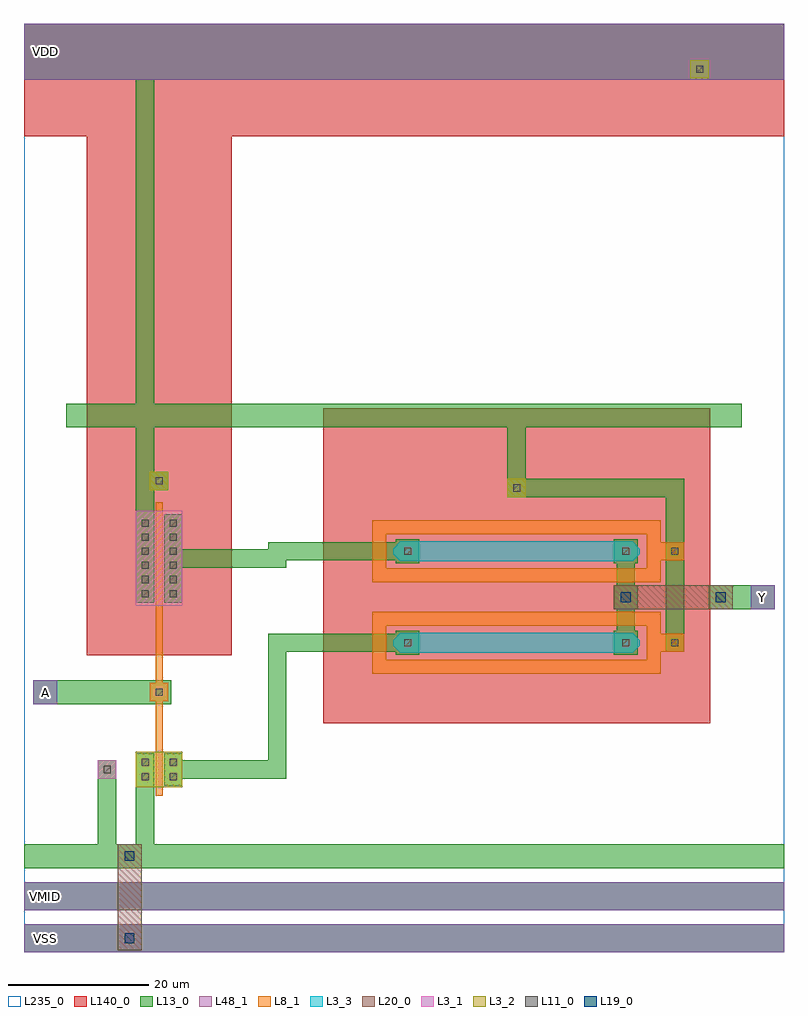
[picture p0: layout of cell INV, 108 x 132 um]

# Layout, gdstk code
import gdstk
lib = gdstk.Library(unit=1e-6, precision=1e-09)
def R(c, l, rs):  # rectangles x0, y0, x1, y1
    for r in rs: c.add(gdstk.rectangle(r[:2], r[2:], *l))
def A(c, l, x, y, w, h, nx, ny, dx, dy):  # array of equal rectangles
    R(c, l, [(x+i*dx, y+j*dy, x+i*dx+w, y+j*dy+h) for i in range(nx) for j in range(ny)])
def P(c, l, *ps):  # polygons
    for p in ps: c.add(gdstk.Polygon(p, *l))
L3_1 = (3, 1)
L3_2 = (3, 2)
L3_3 = (3, 3)
L8_1 = (8, 1)
L11_0 = (11, 0)
L13_0 = (13, 0)
L19_0 = (19, 0)
L20_0 = (20, 0)
L48_1 = (48, 1)
L140_0 = (140, 0)
L235_0 = (235, 0)

fet_p__inv = lib.new_cell('fet_p__INV')
R(fet_p__inv, L3_1, [(-3.3,-6.75,3.3,6.75)])
A(fet_p__inv, L11_0, -2.5, -5.5, 1, 1, 1, 6, 0, 2)
A(fet_p__inv, L11_0, 1.5, -5.5, 1, 1, 1, 6, 0, 2)
R(fet_p__inv, L13_0, [(-3.3,-6.3,-0.7,6.3), (0.7,-6.3,3.3,6.3)])
fet_p__inv.add(gdstk.FlexPath([(0,-7.95),(0,7.95)], 1, ends="flush", simple_path=True, layer=8, datatype=1))  # L8_1

fet_n__inv = lib.new_cell('fet_n__INV')
R(fet_n__inv, L3_2, [(-3.3,-2.5,3.3,2.5)])
R(fet_n__inv, L11_0, [(-2.5,-1.5,-1.5,-0.5), (1.5,-1.5,2.5,-0.5), (-2.5,0.5,-1.5,1.5), (1.5,0.5,2.5,1.5)])
R(fet_n__inv, L13_0, [(-3.3,-2.3,-0.7,2.3), (0.7,-2.3,3.3,2.3)])
fet_n__inv.add(gdstk.FlexPath([(0,-3.7),(0,3.7)], 1, ends="flush", simple_path=True, layer=8, datatype=1))  # L8_1

res_diff__inv = lib.new_cell('res_diff__INV')
P(res_diff__inv, L3_3, [(-16.5,-1.4),(-17.5,-0.4),(-17.5,0.4),(-16.5,1.4),(16.5,1.4),(17.5,0.4),(17.5,-0.4),(16.5,-1.4)])
P(res_diff__inv, L8_1, [(-20.5,-4.4),(-20.5,2.4),(-18.5,2.4),(-18.5,-2.4),(18.5,-2.4),(18.5,2.4),(-20.5,2.4),(-20.5,4.4),(20.5,4.4),(20.5,-4.4)])
R(res_diff__inv, L11_0, [(-16,-0.5,-15,0.5), (15,-0.5,16,0.5)])
R(res_diff__inv, L13_0, [(-17.2,-1.7,-13.8,1.7), (13.8,-1.7,17.2,1.7)])

cont_n__inv = lib.new_cell('cont_n__INV')
R(cont_n__inv, L3_2, [(-1.3,-1.3,1.3,1.3)])
R(cont_n__inv, L11_0, [(-0.5,-0.5,0.5,0.5)])
R(cont_n__inv, L13_0, [(-1.3,-1.3,1.3,1.3)])

cont_p__inv = lib.new_cell('cont_p__INV')
R(cont_p__inv, L3_1, [(-1.3,-1.3,1.3,1.3)])
R(cont_p__inv, L11_0, [(-0.5,-0.5,0.5,0.5)])
R(cont_p__inv, L13_0, [(-1.3,-1.3,1.3,1.3)])

cont_g__inv = lib.new_cell('cont_g__INV')
R(cont_g__inv, L8_1, [(-1.3,-1.3,1.3,1.3)])
R(cont_g__inv, L11_0, [(-0.5,-0.5,0.5,0.5)])
R(cont_g__inv, L13_0, [(-1.3,-1.3,1.3,1.3)])

via_1__inv = lib.new_cell('via_1__INV')
R(via_1__inv, L13_0, [(-1.7,-1.7,1.7,1.7)])
R(via_1__inv, L19_0, [(-0.7,-0.7,0.7,0.7)])
R(via_1__inv, L20_0, [(-1.7,-1.7,1.7,1.7)])

inv = lib.new_cell('INV')
R(inv, L8_1, [(18.7,25.5,19.7,56.5), (89.2,42.7,93.8,45.3), (89.2,55.7,93.8,58.3)])
R(inv, L13_0, [(0,0,108,4), (0,6,108,10), (0,12,108,15.4), (6,12,102,15.4), (10.5,12.4,13.1,27.3), (15.9,12.4,18.5,27.3), (19.9,24.7,37.3,27.3), (34.7,24.7,37.3,45.3), (1.3,35.3,20.9,38.7), (1.3,35.3,4.7,38.7), (6,35.7,19.2,38.3), (34.7,42.7,55.8,45.3), (84.2,42.7,86.8,58.3), (91.2,42.7,93.8,67.3), (97.3,48.8,106.7,52.2), (103.3,48.8,106.7,52.2), (15.9,54.7,18.5,77.6), (19.9,54.7,37.3,57.3), (34.7,54.7,37.3,58.3), (34.7,55.7,55.8,58.3), (68.7,64.7,71.3,77.6), (68.7,64.7,93.8,67.3), (15.9,65.7,20.5,68.3), (6,74.6,102,78), (15.9,75,18.5,129.3), (0,124,108,132), (94.7,124.2,97.3,129.3)])
R(inv, L20_0, [(13.3,0.3,16.7,15.4), (85.5,48.8,100.7,52.2)])
R(inv, L48_1, [(0,0,108,4), (0,6,108,10), (1.3,35.3,4.7,38.7), (103.3,48.8,106.7,52.2), (0,124,108,132)])
R(inv, L140_0, [(42.5,32.6,97.5,77.3), (8.9,42.25,29.5,73.3), (8.9,42.25,29.5,132), (0,116,108,132)])
R(inv, L235_0, [(0,0,108,132)])
inv.add(gdstk.Reference(fet_p__inv, (19.2,56)))
inv.add(gdstk.Reference(fet_n__inv, (19.2,26)))
inv.add(gdstk.Reference(res_diff__inv, (70,57)))
inv.add(gdstk.Reference(res_diff__inv, (70,44)))
inv.add(gdstk.Reference(cont_n__inv, (19.2,67)))
inv.add(gdstk.Reference(cont_n__inv, (70,66)))
inv.add(gdstk.Reference(cont_p__inv, (11.8,26)))
inv.add(gdstk.Reference(cont_g__inv, (92.5,44)))
inv.add(gdstk.Reference(cont_g__inv, (92.5,57)))
inv.add(gdstk.Reference(cont_g__inv, (19.2,37)))
inv.add(gdstk.Reference(via_1__inv, (85.5,50.5)))
inv.add(gdstk.Reference(via_1__inv, (99,50.5)))
inv.add(gdstk.Reference(cont_n__inv, (96,125.5)))
inv.add(gdstk.Reference(via_1__inv, (15,13.7)))
inv.add(gdstk.Reference(via_1__inv, (15,2)))
inv.add(gdstk.Label('A', (3,37), layer=48, texttype=0))
inv.add(gdstk.Label('Y', (105,50.5), layer=48, texttype=0))
inv.add(gdstk.Label('VDD', (3,128), layer=48, texttype=0))
inv.add(gdstk.Label('VMID', (3,8), layer=48, texttype=0))
inv.add(gdstk.Label('VSS', (3,2), layer=48, texttype=0))

lib.write_gds('INV.gds')
